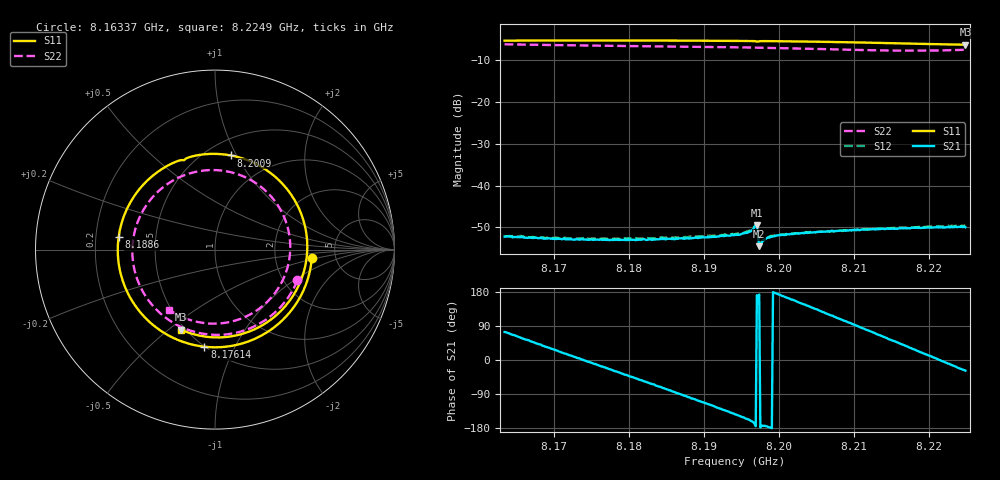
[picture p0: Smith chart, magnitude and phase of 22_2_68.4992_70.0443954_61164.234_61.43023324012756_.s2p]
#  HZ  S  RI  R  50.00
! Rohde & Schwarz Vector Network Analyzer
! Rohde-Schwarz,ZNB20-2Port,1311601062101988,3.16
! Created: UTC 3/20/2024, 5:04:43 PM
! freq[Hz]  re:S11  im:S11  re:S21  im:S21  re:S12  im:S12  re:S22  im:S22
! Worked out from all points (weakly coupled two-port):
!   401 points, 8.16337 GHz to 8.2249 GHz, reference 50 ohm
!   highest |S21| = -49.43 dB at 8.19706 GHz (marker M1); lowest = -54.5 dB at 8.19737 GHz (marker M2)
!   lowest |S11| = -6.3 dB at 8.2249 GHz (marker M3), VSWR 2.88, Z = 23.7 - j27.5 ohm
!   |S11| at or under -10 dB: nowhere
!   |S22| runs from -7.7 to -6.2 dB; largest |S21 - S12| = 0.00021
!   S11 on the Smith chart (normalised r, x): 8.16337 GHz: 3.30, -0.44; 8.17614 GHz: 0.50, -0.77; 8.1886 GHz: 0.30, +0.06; 8.2009 GHz: 0.65, +0.95; 8.2249 GHz: 0.47, -0.55
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8.163374e9  0.5392 -0.0467  0.000683 0.00236  0.000656 0.0024  0.4587 -0.1719
8.167989e9  0.4295 -0.3331  0.00177 0.00156  0.00178 0.00164  0.2931 -0.3838
8.17368e9  0.1087 -0.5334  0.00229 4.68e-05  0.00234 3.02e-05  -0.0167 -0.4743
8.176141e9  -0.0588 -0.5412  0.00219 -0.000628  0.00222 -0.000625  -0.1535 -0.4458
8.179832e9  -0.296 -0.4561  0.00169 -0.00146  0.00174 -0.00157  -0.3273 -0.3334
8.183985e9  -0.4851 -0.2437  0.000769 -0.00215  0.000794 -0.00227  -0.443 -0.1348
8.1886e9  -0.5369 0.0694  -0.000515 -0.0023  -0.000576 -0.00239  -0.4428 0.1186
8.191214e9  -0.4824 0.2432  -0.00127 -0.00209  -0.00137 -0.00212  -0.3807 0.2495
8.194137e9  -0.3562 0.4038  -0.00206 -0.00154  -0.00215 -0.0015  -0.2662 0.3645
8.195982e9  -0.2477 0.4762  -0.00258 -0.00108  -0.00269 -0.00102  -0.1749 0.4131
8.196752e9  -0.1955 0.4972  -0.00315 -0.000667  -0.00322 -0.00053  -0.1339 0.4266
8.197059e9  -0.1741 0.498  -0.00334 0.000526  -0.00338 0.00063  -0.1171 0.4308
8.197367e9  -0.1625 0.5067  -0.00187 0.000243  -0.00192 0.000332  -0.1004 0.4348
8.197674e9  -0.1409 0.5156  -0.00206 -0.000227  -0.00212 -0.000101  -0.0832 0.4378
8.198597e9  -0.0754 0.5292  -0.00239 -0.000121  -0.00243 -1.51e-06  -0.0311 0.4431
8.200904e9  0.0874 0.5247  -0.00252 0.000644  -0.00246 0.000727  0.0989 0.4286
8.204442e9  0.3137 0.4235  -0.00205 0.00183  -0.00203 0.00195  0.2768 0.3323
8.209672e9  0.5048 0.1134  -0.000333 0.0029  -0.000213 0.00292  0.4165 0.0628
8.212133e9  0.5083 -0.062  0.00072 0.00293  0.00079 0.00291  0.4074 -0.0865
8.214747e9  0.4462 -0.2384  0.00176 0.00248  0.00184 0.0025  0.34 -0.234
8.219977e9  0.1571 -0.4679  0.0031 0.00065  0.00319 0.000565  0.0597 -0.4074
8.224899e9  -0.191 -0.4453  0.00281 -0.0015  0.00286 -0.0017  -0.2559 -0.3343
